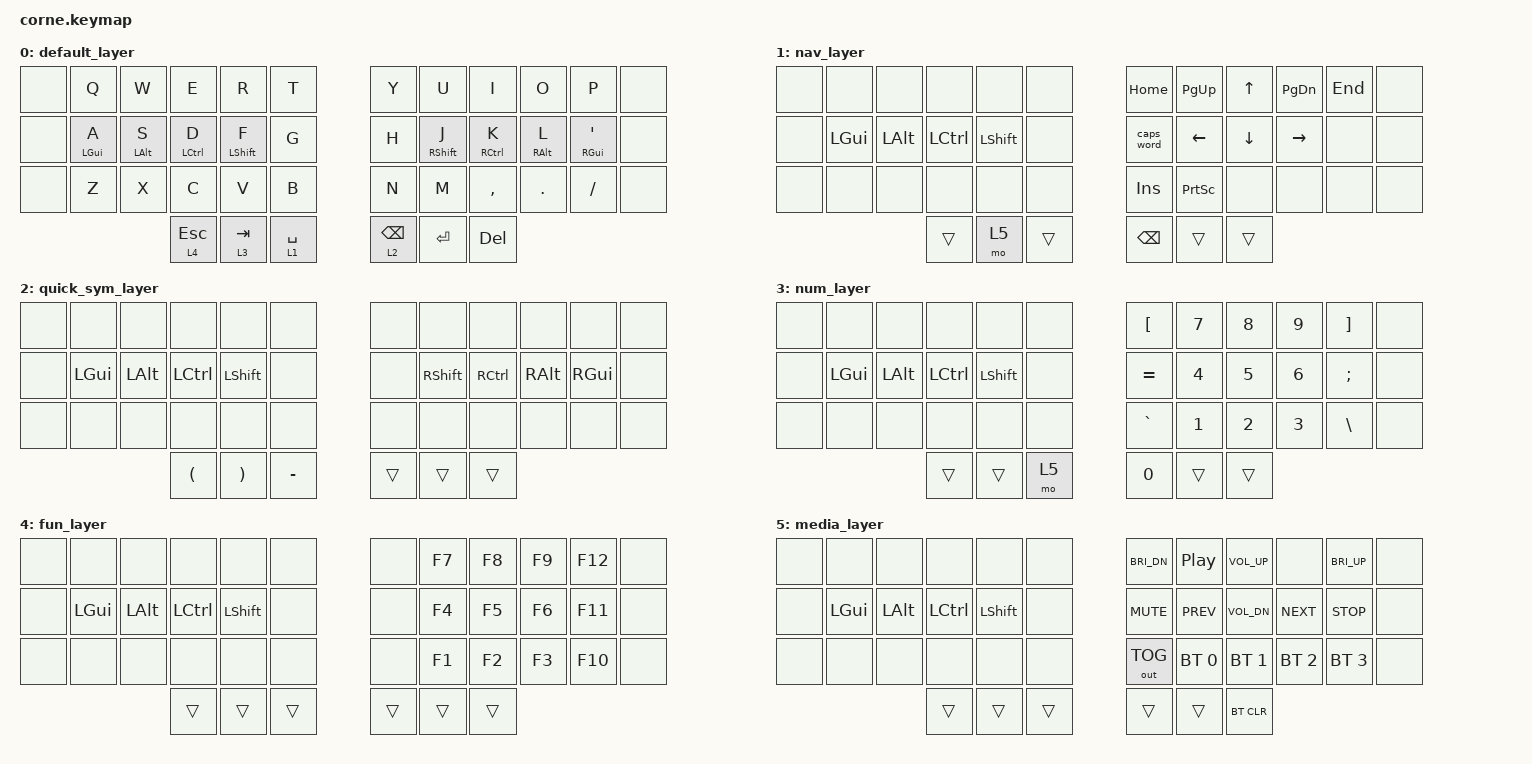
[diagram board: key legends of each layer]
/*
 * Copyright (c) 2020 The ZMK Contributors
 *
 * SPDX-License-Identifier: MIT
 */

#include <behaviors.dtsi>
#include <dt-bindings/zmk/keys.h>
#include <dt-bindings/zmk/bt.h>
#include <dt-bindings/zmk/outputs.h>

/ {
    behaviors {
        hm: homerow_mods {
            compatible = "zmk,behavior-hold-tap";
            #binding-cells = <2>;
            tapping-term-ms = <200>;
            quick-tap-ms = <0>;
            flavor = "tap-preferred";
            bindings = <&kp>, <&kp>;
        };
    };
        keymap {
            compatible = "zmk,keymap";
                default_layer {
                        bindings = <
   &none &kp Q        &kp W        &kp E         &kp R         &kp T         &kp Y         &kp U         &kp I         &kp O        &kp P         &none
   &none &hm LGUI A   &hm LALT S   &hm LCTRL D   &hm LSHFT F   &kp G         &kp H         &hm RSHFT J   &hm RCTRL K   &hm RALT L   &hm RGUI APOS &none
   &none &kp Z        &kp X        &kp C         &kp V         &kp B         &kp N         &kp M         &kp COMMA     &kp DOT      &kp FSLH      &none
                                   &lt 4 ESC     &lt 3 TAB     &lt 1 SPACE   &lt 2 BSPC    &kp RET       &kp DEL
                        >;
                };
                nav_layer {
                        bindings = <
   &none &none        &none        &none         &none         &none         &kp HOME      &kp PG_UP     &kp UP        &kp PG_DN    &kp END       &none
   &none &kp LGUI     &kp LALT     &kp LCTRL     &kp LSHFT     &none         &caps_word    &kp LEFT      &kp DOWN      &kp RIGHT    &none         &none
   &none &none        &none        &none         &none         &none         &kp INS       &kp PSCRN     &none         &none        &none         &none
                                   &trans        &mo 5         &trans        &kp BSPC      &trans        &trans
                        >;
                };
                quick_sym_layer {
                        bindings = <
   &none &none        &none        &none         &none         &none         &none         &none         &none         &none        &none         &none
   &none &kp LGUI     &kp LALT     &kp LCTRL     &kp LSHFT     &none         &none         &kp RSHFT     &kp RCTRL     &kp RALT     &kp RGUI      &none
   &none &none        &none        &none         &none         &none         &none         &none         &none         &none        &none         &none
                                   &kp LPAR      &kp RPAR      &kp MINUS     &trans        &trans        &trans
                        >;
                };
                num_layer {
                        bindings = <
   &none &none        &none        &none         &none         &none         &kp LBKT      &kp N7        &kp N8        &kp N9       &kp RBKT      &none
   &none &kp LGUI     &kp LALT     &kp LCTRL     &kp LSHFT     &none         &kp EQUAL     &kp N4        &kp N5        &kp N6       &kp SEMI      &none
   &none &none        &none        &none         &none         &none         &kp GRAVE     &kp N1        &kp N2        &kp N3       &kp BSLH      &none
                                   &trans        &trans        &mo 5         &kp N0        &trans        &trans
                        >;
                };
                fun_layer {
                        bindings = <
   &none &none        &none        &none         &none         &none         &none           &kp F7        &kp F8        &kp F9       &kp F12      &none
   &none &kp LGUI     &kp LALT     &kp LCTRL     &kp LSHFT     &none         &none           &kp F4        &kp F5        &kp F6       &kp F11      &none
   &none &none        &none        &none         &none         &none         &none           &kp F1        &kp F2        &kp F3       &kp F10      &none
                                   &trans        &trans        &trans        &trans          &trans        &trans
                        >;
                };
                media_layer {
                        bindings = <
   &none &none        &none        &none         &none         &none         &kp C_BRI_DN    &kp C_PP      &kp C_VOL_UP  &none        &kp C_BRI_UP &none
   &none &kp LGUI     &kp LALT     &kp LCTRL     &kp LSHFT     &none         &kp C_MUTE      &kp C_PREV    &kp C_VOL_DN  &kp C_NEXT   &kp C_STOP   &none
   &none &none        &none        &none         &none         &none         &out OUT_TOG    &bt BT_SEL 0  &bt BT_SEL 1  &bt BT_SEL 2 &bt BT_SEL 3 &none
                                   &trans        &trans        &trans        &trans          &trans        &bt BT_CLR
                        >;
                };
        };
};
